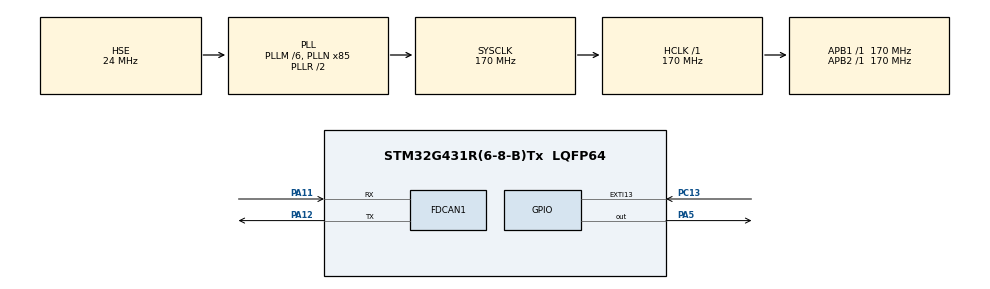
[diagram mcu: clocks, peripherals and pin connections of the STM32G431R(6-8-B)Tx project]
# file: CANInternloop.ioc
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FDCAN1.CalculateBaudRateNominal=500000
FDCAN1.CalculateTimeBitNominal=2000
FDCAN1.CalculateTimeQuantumNominal=200.0
FDCAN1.Mode=FDCAN_MODE_INTERNAL_LOOPBACK
FDCAN1.NominalPrescaler=34
FDCAN1.NominalTimeSeg1=8
FDCAN1.NominalTimeSeg2=1
FDCAN1.StdFiltersNbr=1
Mcu.Family=STM32G4
Mcu.Name=STM32G431R(6-8-B)Tx
Mcu.Package=LQFP64
NUCLEO-G431RB.BUTTON=1
NUCLEO-G431RB.Bsp_Common_DEMO=true
NUCLEO-G431RB.LD1=true
NUCLEO-G431RB.VCP=true
NVIC.EXTI15_10_IRQn=true\:0\:0\:false\:false\:true\:false\:true\:true
NVIC.FDCAN1_IT0_IRQn=true\:0\:0\:false\:false\:true\:true\:true\:true
NVIC.FDCAN1_IT1_IRQn=true\:0\:0\:false\:false\:true\:true\:true\:true
NVIC.PriorityGroup=NVIC_PRIORITYGROUP_4
PA11.Mode=FDCAN_Activate
PA11.Signal=FDCAN1_RX
PA12.Mode=FDCAN_Activate
PA12.Signal=FDCAN1_TX
PA13.GPIO_Label=T_SWDIO
PA13.Signal=SYS_JTMS-SWDIO
PA14.GPIO_Label=T_SWCLK
PA14.Signal=SYS_JTCK-SWCLK
PA2.Signal=LPUART1_TX
PA3.Signal=LPUART1_RX
PA5.Signal=GPIO_Output
PB3.GPIO_Label=T_SWO
PB3.Signal=SYS_JTDO-SWO
PC13.Signal=GPXTI13
PC14-OSC32_IN.GPIO_Label=RCC_OSC32_OUT
PC14-OSC32_IN.Signal=RCC_OSC32_IN
PC15-OSC32_OUT.GPIO_Label=RCC_OSC32_OUT
PC15-OSC32_OUT.Signal=RCC_OSC32_OUT
PF0-OSC_IN.GPIO_Label=RCC_OSC_IN
PF0-OSC_IN.Mode=HSE-External-Oscillator
PF0-OSC_IN.Signal=RCC_OSC_IN
PF1-OSC_OUT.GPIO_Label=RCC_OSC_OUT
PF1-OSC_OUT.Mode=HSE-External-Oscillator
PF1-OSC_OUT.Signal=RCC_OSC_OUT
ProjectManager.HeapSize=0x200
ProjectManager.StackSize=0x400
ProjectManager.TargetToolchain=STM32CubeIDE
RCC.ADC12Freq_Value=170000000
RCC.AHBFreq_Value=170000000
RCC.APB1Freq_Value=170000000
RCC.APB1TimFreq_Value=170000000
RCC.APB2Freq_Value=170000000
RCC.APB2TimFreq_Value=170000000
RCC.CortexFreq_Value=170000000
RCC.EXTERNAL_CLOCK_VALUE=12288000
RCC.HCLKFreq_Value=170000000
RCC.HSE_VALUE=24000000
RCC.HSI48_VALUE=48000000
RCC.HSI_VALUE=16000000
RCC.LSE_VALUE=32768
RCC.PLLM=RCC_PLLM_DIV6
RCC.PLLN=85
RCC.PLLSourceVirtual=RCC_PLLSOURCE_HSE
RCC.RTCClockSelection=RCC_RTCCLKSOURCE_LSE
RCC.SYSCLKFreq_VALUE=170000000
RCC.SYSCLKSource=RCC_SYSCLKSOURCE_PLLCLK
RCC.USBFreq_Value=170000000
RCC.VCOOutputFreq_Value=340000000
VP_NUCLEO-G431RB_VS_BSP_COMMON.Mode=COMMON
VP_SYS_VS_DBSignals.Mode=DisableDeadBatterySignals
board=NUCLEO-G431RB

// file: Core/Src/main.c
/* USER CODE BEGIN Header */
/**
  ******************************************************************************
  * @file           : main.c
  * @brief          : Main program body
  ******************************************************************************
  * @attention
  *
  * Copyright (c) 2026 STMicroelectronics.
  * All rights reserved.
  *
  * This software is licensed under terms that can be found in the LICENSE file
  * in the root directory of this software component.
  * If no LICENSE file comes with this software, it is provided AS-IS.
  *
  ******************************************************************************
  */
/* USER CODE END Header */
#include "main.h"

/* USER CODE BEGIN Includes */
#include <stdio.h>
#include <string.h>
/* USER CODE END Includes */

COM_InitTypeDef BspCOMInit;
__IO uint32_t BspButtonState = BUTTON_RELEASED;
FDCAN_HandleTypeDef hfdcan1;

/* USER CODE BEGIN PV */
/* ITM printf redirect */
int _write(int file, char *ptr, int len) {
  for (int i = 0; i < len; i++) {
    ITM_SendChar(*ptr++);
  }
  return len;
}

/* CAN variables */
FDCAN_TxHeaderTypeDef TxHeader;
FDCAN_RxHeaderTypeDef RxHeader;
uint8_t TxData[8] = "LOOPBCK";
uint8_t RxData[8];
volatile uint8_t rxFlag = 0;
volatile uint8_t txFlag = 0;
/* USER CODE END PV */

void SystemClock_Config(void);
static void MX_GPIO_Init(void);
static void MX_FDCAN1_Init(void);

/* USER CODE BEGIN 0 */
void HAL_FDCAN_RxFifo0Callback(FDCAN_HandleTypeDef *hfdcan, uint32_t RxFifo0ITs)
{
  if ((RxFifo0ITs & FDCAN_IT_RX_FIFO0_NEW_MESSAGE) != 0)
  {
    if (HAL_FDCAN_GetRxMessage(hfdcan, FDCAN_RX_FIFO0, &RxHeader, RxData) == HAL_OK)
    {
      rxFlag = 1;
    }
  }
}

void HAL_FDCAN_TxBufferCompleteCallback(FDCAN_HandleTypeDef *hfdcan, uint32_t BufferIdx)
{
  txFlag = 1;
}
/* USER CODE END 0 */

int main(void)
{

  /* MCU Configuration--------------------------------------------------------*/

  /* Reset of all peripherals, Initializes the Flash interface and the Systick. */
  HAL_Init();

  /* Configure the system clock */
  SystemClock_Config();

  /* Initialize all configured peripherals */
  MX_GPIO_Init();
  MX_FDCAN1_Init();
  /* USER CODE BEGIN 2 */

  /* Configure RX filter to accept all messages */
  FDCAN_FilterTypeDef filterConfig;
  filterConfig.IdType = FDCAN_STANDARD_ID;
  filterConfig.FilterIndex = 0;
  filterConfig.FilterType = FDCAN_FILTER_MASK;
  filterConfig.FilterConfig = FDCAN_FILTER_TO_RXFIFO0;
  filterConfig.FilterID1 = 0x000;  /* Accept all IDs */
  filterConfig.FilterID2 = 0x000;  /* Mask: don't care */
  HAL_FDCAN_ConfigFilter(&hfdcan1, &filterConfig);

  /* Configure global filter to reject non-matching frames */
  HAL_FDCAN_ConfigGlobalFilter(&hfdcan1, FDCAN_REJECT, FDCAN_REJECT, FDCAN_FILTER_REMOTE, FDCAN_FILTER_REMOTE);

  /* Start FDCAN */
  HAL_FDCAN_Start(&hfdcan1);

  /* Activate RX and TX notifications */
  HAL_FDCAN_ActivateNotification(&hfdcan1, FDCAN_IT_RX_FIFO0_NEW_MESSAGE, 0);
  HAL_FDCAN_ActivateNotification(&hfdcan1, FDCAN_IT_TX_COMPLETE, FDCAN_TX_BUFFER0 | FDCAN_TX_BUFFER1 | FDCAN_TX_BUFFER2);

  /* Configure TX header */
  TxHeader.Identifier = 0x123;
  TxHeader.IdType = FDCAN_STANDARD_ID;
  TxHeader.TxFrameType = FDCAN_DATA_FRAME;
  TxHeader.DataLength = FDCAN_DLC_BYTES_8;
  TxHeader.ErrorStateIndicator = FDCAN_ESI_ACTIVE;
  TxHeader.BitRateSwitch = FDCAN_BRS_OFF;
  TxHeader.FDFormat = FDCAN_CLASSIC_CAN;
  TxHeader.TxEventFifoControl = FDCAN_NO_TX_EVENTS;
  TxHeader.MessageMarker = 0;

  printf("CAN Internal Loopback Test Ready!\r\n");
  printf("Press button to send message...\r\n");

  /* USER CODE END 2 */

  /* Initialize leds */
  BSP_LED_Init(LED_GREEN);

  /* Initialize USER push-button, will be used to trigger an interrupt each time it's pressed.*/
  BSP_PB_Init(BUTTON_USER, BUTTON_MODE_EXTI);

  /* Initialize COM1 port (115200, 8 bits (7-bit data + 1 stop bit), no parity */
  BspCOMInit.BaudRate   = 115200;
  BspCOMInit.WordLength = COM_WORDLENGTH_8B;
  BspCOMInit.StopBits   = COM_STOPBITS_1;
  BspCOMInit.Parity     = COM_PARITY_NONE;
  BspCOMInit.HwFlowCtl  = COM_HWCONTROL_NONE;
  if (BSP_COM_Init(COM1, &BspCOMInit) != BSP_ERROR_NONE)
  {
    Error_Handler();
  }

  /* USER CODE BEGIN BSP */

  /* -- Sample board code to send message over COM1 port ---- */
  printf("Welcome to STM32 world !\n\r");

  /* -- Sample board code to switch on leds ---- */
  BSP_LED_On(LED_GREEN);

  /* USER CODE END BSP */

  /* Infinite loop */
  /* USER CODE BEGIN WHILE */
  while (1)
  {

    /* Button pressed - send CAN message */
    if (BspButtonState == BUTTON_PRESSED)
    {
      BspButtonState = BUTTON_RELEASED;

      /* Send message */
      if (HAL_FDCAN_AddMessageToTxFifoQ(&hfdcan1, &TxHeader, TxData) == HAL_OK)
      {
        printf("TX: ID=0x%03lX Data=%s\r\n", TxHeader.Identifier, TxData);
      }
      else
      {
        printf("TX Failed!\r\n");
      }
    }

    /* TX complete callback fired */
    if (txFlag)
    {
      txFlag = 0;
      printf("TX Complete!\r\n");
    }

    /* RX callback fired - we received our own message back */
    if (rxFlag)
    {
      rxFlag = 0;
      printf("RX: ID=0x%03lX Data=", RxHeader.Identifier);
      for (int i = 0; i < 8; i++)
      {
        printf("%c", RxData[i]);
      }
      printf("\r\n");
      printf("*** LOOPBACK SUCCESS! ***\r\n");
      BSP_LED_Toggle(LED_GREEN);
    }
    /* USER CODE END WHILE */

  }
}

void SystemClock_Config(void)
{
  RCC_OscInitTypeDef RCC_OscInitStruct = {0};
  RCC_ClkInitTypeDef RCC_ClkInitStruct = {0};

  /** Configure the main internal regulator output voltage
  */
  HAL_PWREx_ControlVoltageScaling(PWR_REGULATOR_VOLTAGE_SCALE1_BOOST);

  /** Initializes the RCC Oscillators according to the specified parameters
  * in the RCC_OscInitTypeDef structure.
  */
  RCC_OscInitStruct.OscillatorType = RCC_OSCILLATORTYPE_HSE;
  RCC_OscInitStruct.HSEState = RCC_HSE_ON;
  RCC_OscInitStruct.PLL.PLLState = RCC_PLL_ON;
  RCC_OscInitStruct.PLL.PLLSource = RCC_PLLSOURCE_HSE;
  RCC_OscInitStruct.PLL.PLLM = RCC_PLLM_DIV6;
  RCC_OscInitStruct.PLL.PLLN = 85;
  RCC_OscInitStruct.PLL.PLLP = RCC_PLLP_DIV2;
  RCC_OscInitStruct.PLL.PLLQ = RCC_PLLQ_DIV2;
  RCC_OscInitStruct.PLL.PLLR = RCC_PLLR_DIV2;
  if (HAL_RCC_OscConfig(&RCC_OscInitStruct) != HAL_OK)
  {
    Error_Handler();
  }

  /** Initializes the CPU, AHB and APB buses clocks
  */
  RCC_ClkInitStruct.ClockType = RCC_CLOCKTYPE_HCLK|RCC_CLOCKTYPE_SYSCLK
                              |RCC_CLOCKTYPE_PCLK1|RCC_CLOCKTYPE_PCLK2;
  RCC_ClkInitStruct.SYSCLKSource = RCC_SYSCLKSOURCE_PLLCLK;
  RCC_ClkInitStruct.AHBCLKDivider = RCC_SYSCLK_DIV1;
  RCC_ClkInitStruct.APB1CLKDivider = RCC_HCLK_DIV1;
  RCC_ClkInitStruct.APB2CLKDivider = RCC_HCLK_DIV1;

  if (HAL_RCC_ClockConfig(&RCC_ClkInitStruct, FLASH_LATENCY_4) != HAL_OK)
  {
    Error_Handler();
  }
}

static void MX_FDCAN1_Init(void)
{

  hfdcan1.Instance = FDCAN1;
  hfdcan1.Init.ClockDivider = FDCAN_CLOCK_DIV1;
  hfdcan1.Init.FrameFormat = FDCAN_FRAME_CLASSIC;
  hfdcan1.Init.Mode = FDCAN_MODE_INTERNAL_LOOPBACK;
  hfdcan1.Init.AutoRetransmission = DISABLE;
  hfdcan1.Init.TransmitPause = DISABLE;
  hfdcan1.Init.ProtocolException = DISABLE;
  hfdcan1.Init.NominalPrescaler = 34;
  hfdcan1.Init.NominalSyncJumpWidth = 1;
  hfdcan1.Init.NominalTimeSeg1 = 8;
  hfdcan1.Init.NominalTimeSeg2 = 1;
  hfdcan1.Init.DataPrescaler = 1;
  hfdcan1.Init.DataSyncJumpWidth = 1;
  hfdcan1.Init.DataTimeSeg1 = 1;
  hfdcan1.Init.DataTimeSeg2 = 1;
  hfdcan1.Init.StdFiltersNbr = 1;
  hfdcan1.Init.ExtFiltersNbr = 0;
  hfdcan1.Init.TxFifoQueueMode = FDCAN_TX_FIFO_OPERATION;
  if (HAL_FDCAN_Init(&hfdcan1) != HAL_OK)
  {
    Error_Handler();
  }

}

static void MX_GPIO_Init(void)
{

  /* GPIO Ports Clock Enable */
  __HAL_RCC_GPIOC_CLK_ENABLE();
  __HAL_RCC_GPIOF_CLK_ENABLE();
  __HAL_RCC_GPIOA_CLK_ENABLE();
  __HAL_RCC_GPIOB_CLK_ENABLE();

}

/**
  * @brief  BSP Push Button callback
  * @param  Button Specifies the pressed button
  * @retval None
  */
void BSP_PB_Callback(Button_TypeDef Button)
{
  if (Button == BUTTON_USER)
  {
    BspButtonState = BUTTON_PRESSED;
  }
}

void Error_Handler(void)
{
  __disable_irq();
  while (1)
  {
  }
}
